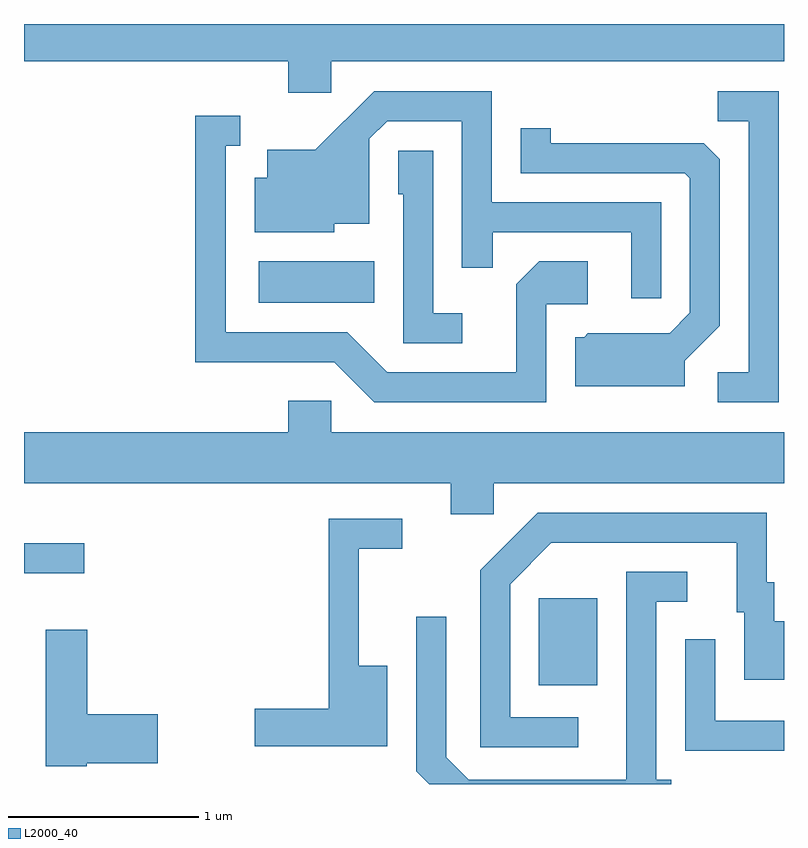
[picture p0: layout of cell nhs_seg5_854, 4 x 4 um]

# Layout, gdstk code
import gdstk
lib = gdstk.Library(unit=1e-6, precision=1e-09)
def R(c, l, rs):  # rectangles x0, y0, x1, y1
    for r in rs: c.add(gdstk.rectangle(r[:2], r[2:], *l))
def P(c, l, *ps):  # polygons
    for p in ps: c.add(gdstk.Polygon(p, *l))
L2000_40 = (2000, 40)

nhs_seg5_854 = lib.new_cell('nhs_seg5_854')
R(nhs_seg5_854, L2000_40, [(212.321,1484.591,212.629,1485.049), (209.611,1485.181,209.928,1485.339), (210.846,1486.606,211.454,1486.824)])
P(nhs_seg5_854, L2000_40, [(211.229,1487.876),(213.611,1487.876),(213.611,1488.072),(209.611,1488.072),(209.611,1487.876),(211.001,1487.876),(211.001,1487.711),(211.229,1487.711)],
  [(213.584,1487.719),(213.263,1487.719),(213.263,1487.561),(213.426,1487.561),(213.426,1486.239),(213.263,1486.239),(213.263,1486.081),(213.584,1486.081)],
  [(212.964,1487.134),(212.074,1487.134),(212.074,1487.719),(211.454,1487.719),(211.144,1487.409),(210.891,1487.409),(210.891,1487.264),(210.826,1487.264),(210.826,1486.976),(211.244,1486.976),(211.244,1487.021),(211.429,1487.021),(211.429,1487.469),(211.522,1487.561),(211.916,1487.561),(211.916,1486.788),(212.079,1486.788),(212.079,1486.976),(212.806,1486.976),(212.806,1486.628),(212.964,1486.628)],
  [(212.359,1486.596),(212.579,1486.596),(212.579,1486.824),(212.324,1486.824),(212.201,1486.702),(212.201,1486.239),(211.522,1486.239),(211.312,1486.449),(210.674,1486.449),(210.674,1487.431),(210.748,1487.431),(210.748,1487.589),(210.511,1487.589),(210.511,1486.291),(211.244,1486.291),(211.454,1486.081),(212.359,1486.081)],
  [(213.089,1486.299),(213.274,1486.484),(213.274,1487.359),(213.189,1487.444),(212.384,1487.444),(212.384,1487.523),(212.226,1487.523),(212.226,1487.286),(213.089,1487.286),(213.116,1487.259),(213.116,1486.552),(213.009,1486.444),(212.579,1486.444),(212.559,1486.424),(212.511,1486.424),(212.511,1486.166),(213.089,1486.166)],
  [(211.918,1486.549),(211.764,1486.549),(211.764,1487.404),(211.581,1487.404),(211.581,1487.176),(211.606,1487.176),(211.606,1486.391),(211.918,1486.391)],
  [(212.084,1485.656),(213.611,1485.656),(213.611,1485.924),(211.229,1485.924),(211.229,1486.089),(211.001,1486.089),(211.001,1485.924),(209.611,1485.924),(209.611,1485.656),(211.856,1485.656),(211.856,1485.491),(212.084,1485.491)],
  [(212.528,1484.424),(212.169,1484.424),(212.169,1485.124),(212.387,1485.341),(213.361,1485.341),(213.361,1484.976),(213.401,1484.976),(213.401,1484.621),(213.611,1484.621),(213.611,1484.929),(213.559,1484.929),(213.559,1485.134),(213.519,1485.134),(213.519,1485.499),(212.314,1485.499),(212.011,1485.197),(212.011,1484.266),(212.528,1484.266)],
  [(211.524,1484.694),(211.374,1484.694),(211.374,1485.311),(211.603,1485.311),(211.603,1485.469),(211.216,1485.469),(211.216,1484.469),(210.826,1484.469),(210.826,1484.271),(211.524,1484.271)],
  [(213.018,1484.094),(212.939,1484.094),(212.939,1485.031),(213.103,1485.031),(213.103,1485.189),(212.781,1485.189),(212.781,1484.094),(211.952,1484.094),(211.834,1484.212),(211.834,1484.953),(211.676,1484.953),(211.676,1484.139),(211.743,1484.072),(213.018,1484.072)],
  [(209.94,1484.181),(210.314,1484.181),(210.314,1484.439),(209.944,1484.439),(209.944,1484.884),(209.726,1484.884),(209.726,1484.166),(209.94,1484.166)],
  [(213.611,1484.404),(213.249,1484.404),(213.249,1484.833),(213.091,1484.833),(213.091,1484.246),(213.611,1484.246)])

lib.write_gds('nhs_seg5_854.gds')
